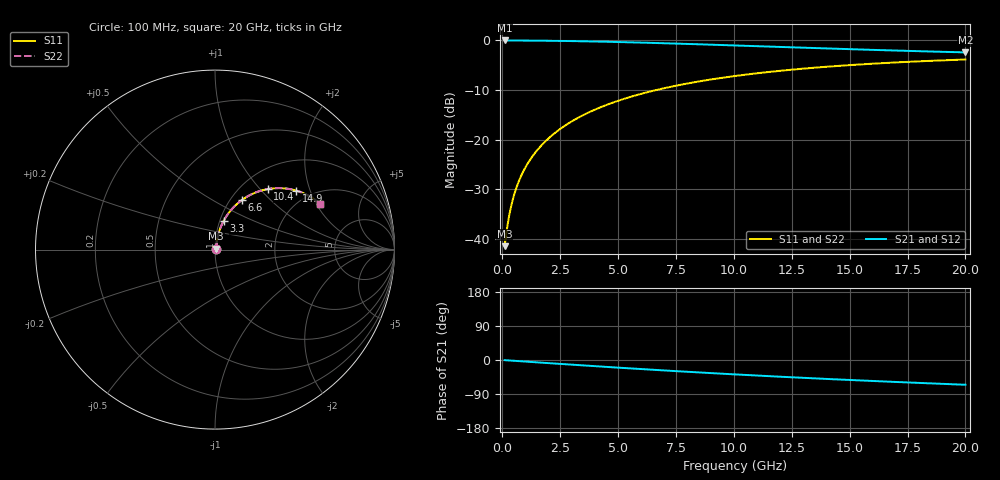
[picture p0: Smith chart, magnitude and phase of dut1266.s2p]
! Touchstone file exported from HFSS 2026.1.0
!  File:  C:/ffzhzh/LocalFiles/Ansys_Project_Files/temp_train_TMRDL_1266_1783164094_51560.aedt
!  Generated:  07:23:14 PM Jul  4, 2026
!  Design:  TMRDL
!  Project:  temp_train_TMRDL_1266_1783164094_51560
! Variables:
!  h_bsmrdl = 2um
!  h_ox = 20um
!  h_rdl = 5um
!  h_sub = 80um
!  h_tmrdl = 3.89um
!  h_tsv = 80um
!  h_via = 3um
!  l_bsmrdl = 300um
!  l_sub = 1387.56um
!  l_tmrdl = 987.56um
!  m_sub = 200um
!  pitch = 53.28um
!  r_tsv = 6um
!  s_tmrdl = 10um
!  w_bsmrdl = 18um
!  w_sub = 500um
!  w_tmrdl = 13.65um
!  x_tsv_center1 = 994.385um
!  x_tsv_center2 = 1312.385um
!  x_tsv_center3 = 2313.595um
!  x_tsv_center4 = 2631.595um
!  x_tsv_center5 = 3632.805um
!  x_tsv_center6 = 3950.805um
# GHz S MA R 50.000000
! Terminal data exported
! Port[1] = TM_RDL1_1_T1
! Port[2] = TM_RDL1_1_T2
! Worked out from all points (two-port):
!   200 points, 100 MHz to 20 GHz, reference 50 ohm
!   highest |S21| = -0.06 dB at 100 MHz (marker M1); lowest = -2.5 dB at 20 GHz (marker M2)
!   |S21| within 3 dB of the highest: start of sweep to end of sweep
!   lowest |S11| = -41.4 dB at 100 MHz (marker M3), VSWR 1.02, Z = 50.7 + j0.542 ohm
!   |S11| at or under -10 dB: start of sweep to 6.667 GHz
!   |S22| runs from -41.4 to -3.9 dB; largest |S21 - S12| = 2.6e-15
!   S11 on the Smith chart (normalised r, x): 100 MHz: 1.01, +0.01; 3.3 GHz: 1.04, +0.34; 6.6 GHz: 1.13, +0.69; 10.4 GHz: 1.31, +1.10; 14.9 GHz: 1.69, +1.61; 20 GHz: 2.52, +2.16
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0.1  0.008505 39.0  0.9934 -0.4  0.9934 -0.4  0.008505 39.0
! Gamma 0 0 0 0
! Port Impedance 50 0 50 0
0.2  0.01267 57.3  0.9933 -0.9  0.9933 -0.9  0.01267 57.3
0.3  0.01744 65.7  0.993 -1.3  0.993 -1.3  0.01744 65.7
0.4  0.0224 70.1  0.9928 -1.7  0.9928 -1.7  0.0224 70.1
0.5  0.02741 72.8  0.9925 -2.1  0.9925 -2.1  0.02741 72.8
0.7  0.03749 75.7  0.992 -2.9  0.992 -2.9  0.03749 75.7
1  0.05268 77.5  0.991 -4.2  0.991 -4.2  0.05268 77.5
1.4  0.07296 78.0  0.9895 -5.8  0.9895 -5.8  0.07296 78.0
1.9  0.09819 77.3  0.987 -7.9  0.987 -7.9  0.09819 77.3
2.5  0.1281 75.8  0.9832 -10.3  0.9832 -10.3  0.1281 75.8
3.3  0.1672 73.3  0.9767 -13.5  0.9767 -13.5  0.1672 73.3
3.5  0.1768 72.6  0.9748 -14.3  0.9748 -14.3  0.1768 72.6
4.9  0.2414 67.6  0.9596 -19.8  0.9596 -19.8  0.2414 67.6
6.6  0.3135 61.6  0.9372 -26.2  0.9372 -26.2  0.3135 61.6
6.8  0.3215 60.9  0.9344 -26.9  0.9344 -26.9  0.3215 60.9
8.3  0.378 55.7  0.9121 -32.2  0.9121 -32.2  0.378 55.8
10.1  0.438 49.9  0.8843 -38.2  0.8843 -38.2  0.438 49.9
10.4  0.4472 48.9  0.8797 -39.1  0.8797 -39.1  0.4471 49.0
13.4  0.527 40.1  0.8343 -48.2  0.8343 -48.2  0.527 40.1
14.9  0.5595 36.0  0.8132 -52.4  0.8132 -52.4  0.5594 36.0
16.7  0.5926 31.3  0.7899 -57.2  0.7899 -57.2  0.5925 31.4
20  0.6391 23.3  0.7538 -65.4  0.7538 -65.4  0.6391 23.4
